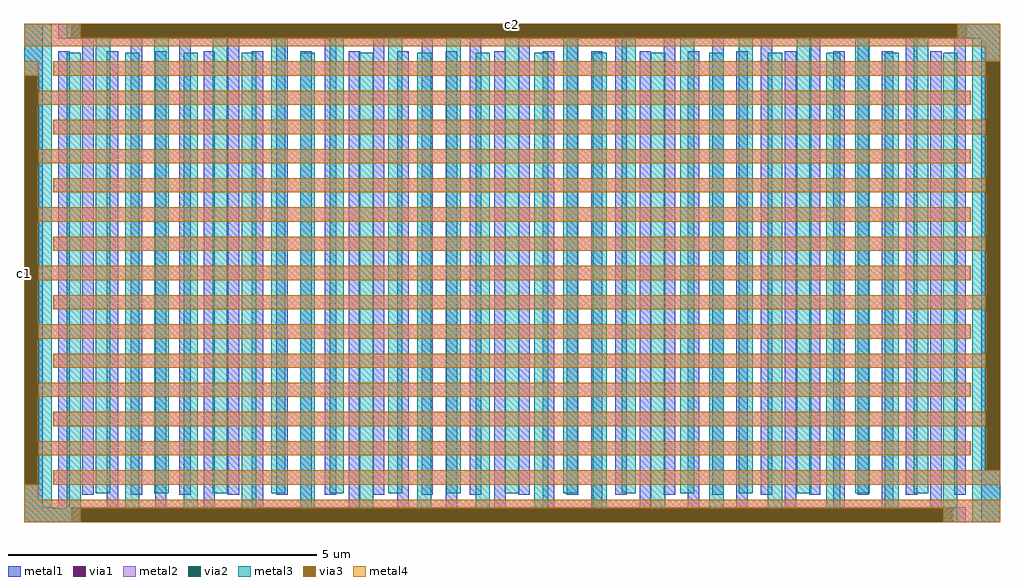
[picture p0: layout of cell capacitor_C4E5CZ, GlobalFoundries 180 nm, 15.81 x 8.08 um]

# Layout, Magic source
magic
tech gf180mcuD
magscale 3 26
<< metal1 >>
rect 0 1254 52 1400
rect 96 1399 2740 1400
rect 96 1359 134 1399
rect 2646 1359 2740 1399
rect 96 1358 2740 1359
rect 0 106 1 1254
rect 41 106 52 1254
rect 0 42 52 106
rect 96 42 128 1322
rect 164 78 196 1358
rect 232 42 264 1322
rect 300 78 332 1358
rect 368 42 400 1322
rect 436 78 468 1358
rect 504 42 536 1322
rect 572 78 604 1358
rect 640 42 672 1322
rect 708 78 740 1358
rect 776 42 808 1322
rect 844 78 876 1358
rect 912 42 944 1322
rect 980 78 1012 1358
rect 1048 42 1080 1322
rect 1116 78 1148 1358
rect 1184 42 1216 1322
rect 1252 78 1284 1358
rect 1320 42 1352 1322
rect 1388 78 1420 1358
rect 1456 42 1488 1322
rect 1524 78 1556 1358
rect 1592 42 1624 1322
rect 1660 78 1692 1358
rect 1728 42 1760 1322
rect 1796 78 1828 1358
rect 1864 42 1896 1322
rect 1932 78 1964 1358
rect 2000 42 2032 1322
rect 2068 78 2100 1358
rect 2136 42 2168 1322
rect 2204 78 2236 1358
rect 2272 42 2304 1322
rect 2340 78 2372 1358
rect 2408 42 2440 1322
rect 2476 78 2508 1358
rect 2544 42 2576 1322
rect 2612 78 2644 1358
rect 2688 1294 2740 1358
rect 2688 146 2699 1294
rect 2739 146 2740 1294
rect 0 41 2644 42
rect 0 1 134 41
rect 2606 1 2644 41
rect 0 0 2644 1
rect 2688 0 2740 146
<< via1 >>
rect 134 1359 2646 1399
rect 1 106 41 1254
rect 2699 146 2739 1294
rect 134 1 2606 41
<< metal2 >>
rect 0 1399 160 1400
rect 2620 1399 2740 1400
rect 0 1359 134 1399
rect 2646 1359 2740 1399
rect 0 1336 2740 1359
rect 2699 1294 2740 1336
rect 0 1254 41 1294
rect 84 1254 2699 1294
rect 41 1172 2656 1212
rect 84 1090 2699 1130
rect 41 1008 2656 1048
rect 84 926 2699 966
rect 41 844 2656 884
rect 84 762 2699 802
rect 41 680 2656 720
rect 84 598 2699 638
rect 41 516 2656 556
rect 84 434 2699 474
rect 41 352 2656 392
rect 84 270 2699 310
rect 41 188 2656 228
rect 84 106 2740 146
rect 0 64 41 106
rect 0 41 2740 64
rect 0 1 134 41
rect 2606 1 2740 41
rect 0 0 160 1
rect 2580 0 2740 1
<< via2 >>
rect 160 1399 2620 1400
rect 160 1360 2620 1399
rect 0 106 1 1254
rect 1 106 40 1254
rect 2700 146 2739 1294
rect 2739 146 2740 1294
rect 160 1 2580 40
rect 160 0 2580 1
<< metal3 >>
rect 0 1254 78 1400
rect 120 1360 160 1400
rect 2620 1360 2740 1400
rect 40 106 78 1254
rect 0 40 78 106
rect 120 40 160 1318
rect 202 82 242 1360
rect 284 40 324 1318
rect 366 82 406 1360
rect 448 40 488 1318
rect 530 82 570 1360
rect 612 40 652 1318
rect 694 82 734 1360
rect 776 40 816 1318
rect 858 82 898 1360
rect 940 40 980 1318
rect 1022 82 1062 1360
rect 1104 40 1144 1318
rect 1186 82 1226 1360
rect 1268 40 1308 1318
rect 1350 82 1390 1360
rect 1432 40 1472 1318
rect 1514 82 1554 1360
rect 1596 40 1636 1318
rect 1678 82 1718 1360
rect 1760 40 1800 1318
rect 1842 82 1882 1360
rect 1924 40 1964 1318
rect 2006 82 2046 1360
rect 2088 40 2128 1318
rect 2170 82 2210 1360
rect 2252 40 2292 1318
rect 2334 82 2374 1360
rect 2416 40 2456 1318
rect 2498 82 2538 1360
rect 0 0 160 40
rect 2580 0 2620 1318
rect 2662 1294 2740 1360
rect 2662 146 2700 1294
rect 2662 0 2740 146
<< via3 >>
rect 160 1360 2620 1400
rect 0 106 40 1254
rect 160 0 2580 40
rect 2700 146 2740 1294
<< metal4 >>
rect 0 1360 160 1400
rect 2620 1360 2740 1400
rect 0 1336 2740 1360
rect 2700 1294 2740 1336
rect 0 1254 40 1294
rect 82 1254 2700 1294
rect 40 1172 2658 1212
rect 82 1090 2700 1130
rect 40 1008 2658 1048
rect 82 926 2700 966
rect 40 844 2658 884
rect 82 762 2700 802
rect 40 680 2658 720
rect 82 598 2700 638
rect 40 516 2658 556
rect 82 434 2700 474
rect 40 352 2658 392
rect 82 270 2700 310
rect 40 188 2658 228
rect 82 106 2740 146
rect 0 64 40 106
rect 0 40 2740 64
rect 0 0 160 40
rect 2580 0 2740 40
<< labels >>
rlabel via3 2 700 2 700 0 c1
port 1 nsew
rlabel via3 1370 1398 1370 1398 0 c2
port 2 nsew
<< properties >>
string device csubckt cap_cmomf 0 0 1 1 w=13.7u l=7u mmin=1 mmax=4 subblock=0 mm_ok=1 c1 0 0 c2 0 0
string FIXED_BBOX 0 0 2740 1400
string gencell cap_cmomf
string library gf180mcu
string parameters w 13.7 l 7 value 123.423 class capacitor mmin metal1 mmax metal4 square 0 subblock 0 lmin 2.00 wmin 2.00 lmax 100.0 wmax 100.0
<< end >>
